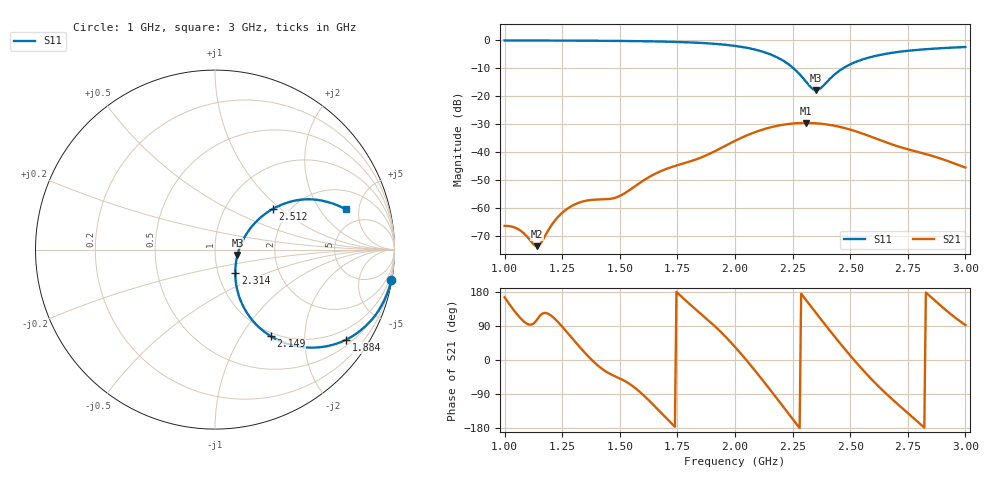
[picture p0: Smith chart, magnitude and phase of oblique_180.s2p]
! TOUCHSTONE file generated by CST MICROWAVE STUDIO
! Date and time: Tue Mar 18 00:02:51 2025
! Project name: oblique.cst
! Parameters = {Tilt=40; Fracture=1; B=12.5; D=160; F=5; Feed=2.85625; L=100; M=50; R=0.384908; S=2; Theta=270; length=57.125; wave=114.25}
! Header version: 2024
! Port assignment regex: !\s*Touchstone port\s*([0-9]+)\s*=\s*(CST MWS port|CST DES external port|CST DES block port)\s*(.+)\s* \(\"(.*)\"\)(\s*mode\s*([0-9]+))?.*
! Touchstone port assignment:
! Touchstone port 1 = CST MWS port 1 ("")
! Touchstone port 2 = CST MWS port 2 ("")
# GHz S DB R 50
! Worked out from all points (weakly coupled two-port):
!   304 points, 1 GHz to 3 GHz, reference 50 ohm
!   highest |S21| = -29.51 dB at 2.307 GHz (marker M1); lowest = -73.6 dB at 1.139 GHz (marker M2)
!   lowest |S11| = -17.8 dB at 2.353 GHz (marker M3), VSWR 1.30, Z = 64.2 - j3.81 ohm
!   |S11| at or under -10 dB: 2.254 GHz to 2.468 GHz (214.3 MHz wide, 9.07 % of centre)
!   S12 and S22 are empty: the file has one direction only
!   S11 on the Smith chart (normalised r, x): 1 GHz: 0, -12; 1.884 GHz: 0.66, -3.08; 2.149 GHz: 0.95, -1.36; 2.314 GHz: 1.21, -0.32; 2.512 GHz: 1.65, +0.88; 3 GHz: 3.38, +3.61
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1  -0.02 -9.8  -66.35 165.5  -200.00 0.0  -200.00 0.0
1.06601  -0.03 -10.7  -67.87 112.2  -200.00 0.0  -200.00 0.0
1.13861  -0.04 -11.8  -73.60 104.9  -200.00 0.0  -200.00 0.0
1.15842  -0.05 -12.1  -72.35 120.0  -200.00 0.0  -200.00 0.0
1.20462  -0.06 -12.9  -65.96 115.8  -200.00 0.0  -200.00 0.0
1.24422  -0.07 -13.5  -62.10 91.9  -200.00 0.0  -200.00 0.0
1.29043  -0.08 -14.3  -59.26 59.4  -200.00 0.0  -200.00 0.0
1.33663  -0.10 -15.2  -57.68 26.9  -200.00 0.0  -200.00 0.0
1.48845  -0.19 -18.6  -56.05 -45.5  -200.00 0.0  -200.00 0.0
1.66667  -0.38 -24.1  -47.19 -131.5  -200.00 0.0  -200.00 0.0
1.88449  -1.06 -34.6  -40.76 104.7  -200.00 0.0  -200.00 0.0
2.0033  -2.01 -43.3  -35.79 32.3  -200.00 0.0  -200.00 0.0
2.14851  -4.83 -57.3  -31.22 -75.3  -200.00 0.0  -200.00 0.0
2.23432  -8.67 -63.5  -29.87 -143.0  -200.00 0.0  -200.00 0.0
2.30693  -14.64 -52.3  -29.51 159.3  -200.00 0.0  -200.00 0.0
2.31353  -15.31 -48.9  -29.52 154.1  -200.00 0.0  -200.00 0.0
2.33993  -17.49 -27.5  -29.58 133.3  -200.00 0.0  -200.00 0.0
2.35314  -17.81 -13.1  -29.65 122.9  -200.00 0.0  -200.00 0.0
2.44554  -11.31 34.0  -30.76 51.8  -200.00 0.0  -200.00 0.0
2.51155  -8.13 35.2  -32.19 3.6  -200.00 0.0  -200.00 0.0
2.66997  -4.58 28.4  -36.87 -96.8  -200.00 0.0  -200.00 0.0
3  -2.37 17.1  -45.46 92.3  -200.00 0.0  -200.00 0.0
